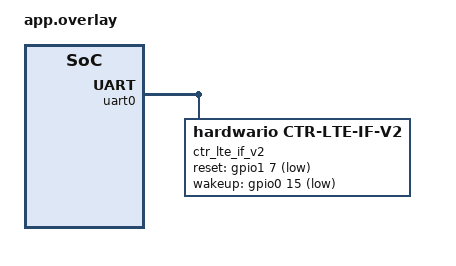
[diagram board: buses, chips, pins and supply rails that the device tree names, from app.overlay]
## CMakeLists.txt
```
#
# Copyright (c) 2023 HARDWARIO a.s.
#
# SPDX-License-Identifier: LicenseRef-HARDWARIO-5-Clause
#

cmake_minimum_required(VERSION 3.20.0)

find_package(Zephyr REQUIRED HINTS $ENV{ZEPHYR_BASE})
project(ctr_lte_if_v2)

target_sources(app PRIVATE src/main.c)
```

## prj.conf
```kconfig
#
# Copyright (c) 2023 HARDWARIO a.s.
#
# SPDX-License-Identifier: LicenseRef-HARDWARIO-5-Clause
#

CONFIG_CTR_DEFAULTS=y
CONFIG_CTR_LOG=y
CONFIG_CTR_LTE_IF_V2_LOG_LEVEL_DBG=y
CONFIG_CTR_LTE_IF_V2=y
CONFIG_CTR_RFMUX_LOG_LEVEL_DBG=y
CONFIG_CTR_RFMUX=y
CONFIG_CTR_SHELL=y
```

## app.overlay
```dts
/*
 * Copyright (c) 2023 HARDWARIO a.s.
 *
 * SPDX-License-Identifier: LicenseRef-HARDWARIO-5-Clause
 */

/ {
	chosen {
		ctr,lte_if_v2 = &ctr_lte_if_v2;
	};
};

&uart0 {
	status = "okay";

	ctr_lte_if_v2: ctr_lte_if_v2 {
		compatible = "hardwario,ctr-lte-if-v2";
		status = "okay";
		reset-gpios = <&gpio1 7 (GPIO_ACTIVE_LOW | GPIO_OPEN_DRAIN)>;
		wakeup-gpios = <&gpio0 15 (GPIO_ACTIVE_LOW | GPIO_OPEN_DRAIN)>;
	};
};
```

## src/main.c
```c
/*
 * Copyright (c) 2023 HARDWARIO a.s.
 *
 * SPDX-License-Identifier: LicenseRef-HARDWARIO-5-Clause
 */

/* CHESTER includes */
#include <chester/drivers/ctr_lte_if_v2.h>
#include <chester/drivers/ctr_rfmux.h>

/* Zephyr includes */
#include <zephyr/device.h>
#include <zephyr/devicetree.h>
#include <zephyr/kernel.h>
#include <zephyr/logging/log.h>
#include <zephyr/shell/shell.h>

/* Standard includes */
#include <errno.h>
#include <stddef.h>

LOG_MODULE_REGISTER(main, LOG_LEVEL_DBG);

static const struct device *dev = DEVICE_DT_GET(DT_CHOSEN(ctr_lte_if_v2));

static void recv_cb(const struct device *dev, enum ctr_lte_if_v2_event event, void *user_data)
{
	int ret;

	switch (event) {
	case CTR_LTE_IF_V2_EVENT_RX_LINE:
		LOG_INF("Event `CTR_LTE_IF_V2_EVENT_RX_LINE`");
		for (;;) {
			char *line;
			ret = ctr_lte_if_v2_recv_line(dev, K_NO_WAIT, &line);
			if (ret) {
				LOG_ERR("Call `ctr_lte_if_v2_recv_line` failed: %d", ret);
				break;
			}

			if (!line) {
				break;
			}

			LOG_INF("RX line: %s", line);

			ret = ctr_lte_if_v2_free_line(dev, line);
			if (ret) {
				LOG_ERR("Call `ctr_lte_if_v2_free_line` failed: %d", ret);
			}
		}
		break;
	case CTR_LTE_IF_V2_EVENT_RX_DATA:
		LOG_INF("Event `CTR_LTE_IF_V2_EVENT_RX_DATA`");
		break;
	default:
		LOG_WRN("Unknown event: %d", event);
	}
}

static int init_rfmux(void)
{
	int ret;

	static const struct device *dev = DEVICE_DT_GET(DT_NODELABEL(ctr_rfmux));

	if (!device_is_ready(dev)) {
		LOG_ERR("Device not ready");
		return -ENODEV;
	}

	ret = ctr_rfmux_acquire(dev);
	if (ret) {
		LOG_ERR("Call `ctr_rfmux_acquire` failed: %d", ret);
		return ret;
	}

	ret = ctr_rfmux_set_interface(dev, CTR_RFMUX_INTERFACE_LTE);
	if (ret) {
		LOG_ERR("Call `ctr_rfmux_set_interface` failed (LTE): %d", ret);
		return ret;
	}

	ret = ctr_rfmux_set_antenna(dev, CTR_RFMUX_ANTENNA_INT);
	if (ret) {
		LOG_ERR("Call `ctr_rfmux_set_antenna` failed (INT): %d", ret);
		return ret;
	}

	return 0;
}

int main(void)
{
	int ret;

	LOG_INF("Build time: " __DATE__ " " __TIME__);

	ret = init_rfmux();
	if (ret) {
		LOG_ERR("Call `init_rfmux` failed: %d", ret);
		k_oops();
	}

	if (!device_is_ready(dev)) {
		LOG_ERR("Device not ready");
		k_oops();
	}

	ret = ctr_lte_if_v2_set_callback(dev, recv_cb, NULL);
	if (ret) {
		LOG_ERR("Call `ctr_lte_if_v2_set_callback` failed: %d", ret);
		k_oops();
	}

	return 0;
}

static int cmd_reset(const struct shell *shell, size_t argc, char **argv)
{
	int ret;

	if (argc > 1) {
		shell_error(shell, "unknown parameter: %s", argv[1]);
		shell_help(shell);
		return -EINVAL;
	}

	ret = ctr_lte_if_v2_reset(dev);
	if (ret) {
		LOG_ERR("Call `ctr_lte_if_v2_reset` failed: %d", ret);
		return ret;
	}

	return 0;
}

static int cmd_wakeup(const struct shell *shell, size_t argc, char **argv)
{
	int ret;

	if (argc > 1) {
		shell_error(shell, "unknown parameter: %s", argv[1]);
		shell_help(shell);
		return -EINVAL;
	}

	ret = ctr_lte_if_v2_wake_up(dev);
	if (ret) {
		LOG_ERR("Call `ctr_lte_if_v2_wake_up` failed: %d", ret);
		return ret;
	}

	return 0;
}

static int cmd_enable(const struct shell *shell, size_t argc, char **argv)
{
	int ret;

	if (argc > 1) {
		shell_error(shell, "unknown parameter: %s", argv[1]);
		shell_help(shell);
		return -EINVAL;
	}

	ret = ctr_lte_if_v2_enable_uart(dev);
	if (ret) {
		LOG_ERR("Call `ctr_lte_if_v2_enable_uart` failed: %d", ret);
		return ret;
	}

	return 0;
}

static int cmd_disable(const struct shell *shell, size_t argc, char **argv)
{
	int ret;

	if (argc > 1) {
		shell_error(shell, "unknown parameter: %s", argv[1]);
		shell_help(shell);
		return -EINVAL;
	}

	ret = ctr_lte_if_v2_disable_uart(dev);
	if (ret) {
		LOG_ERR("Call `ctr_lte_if_v2_disable_uart` failed: %d", ret);
		return ret;
	}

	return 0;
}

static int cmd_enterdata(const struct shell *shell, size_t argc, char **argv)
{
	int ret;

	if (argc > 1) {
		shell_error(shell, "unknown parameter: %s", argv[1]);
		shell_help(shell);
		return -EINVAL;
	}

	ret = ctr_lte_if_v2_enter_data_mode(dev);
	if (ret) {
		LOG_ERR("Call `ctr_lte_if_v2_enter_data_mode` failed: %d", ret);
		return ret;
	}

	return 0;
}

static int cmd_exitdata(const struct shell *shell, size_t argc, char **argv)
{
	int ret;

	if (argc > 1) {
		shell_error(shell, "unknown parameter: %s", argv[1]);
		shell_help(shell);
		return -EINVAL;
	}

	ret = ctr_lte_if_v2_exit_data_mode(dev);
	if (ret) {
		LOG_ERR("Call `ctr_lte_if_v2_exit_data_mode` failed: %d", ret);
		return ret;
	}

	return 0;
}

static int cmd_send(const struct shell *shell, size_t argc, char **argv)
{
	int ret;

	if (argc < 2) {
		shell_error(shell, "missing argument");
		shell_help(shell);
		return -EINVAL;
	}

	if (argc > 2) {
		shell_error(shell, "unknown parameter: %s", argv[1]);
		shell_help(shell);
		return -EINVAL;
	}

	ret = ctr_lte_if_v2_send_line(dev, K_FOREVER, "%s", argv[1]);
	if (ret) {
		LOG_ERR("Call `ctr_lte_if_v2_send_line` failed: %d", ret);
		return ret;
	}

	return 0;
}

SHELL_CMD_REGISTER(reset, NULL, "Reset modem.", cmd_reset);
SHELL_CMD_REGISTER(wakeup, NULL, "Wake up modem.", cmd_wakeup);
SHELL_CMD_REGISTER(enable, NULL, "Enable modem UART.", cmd_enable);
SHELL_CMD_REGISTER(disable, NULL, "Disable modem UART.", cmd_disable);
SHELL_CMD_REGISTER(enterdata, NULL, "Enter data mode.", cmd_enterdata);
SHELL_CMD_REGISTER(exitdata, NULL, "Exit data mode.", cmd_exitdata);

SHELL_CMD_REGISTER(send, NULL, "Send command.", cmd_send);
```
